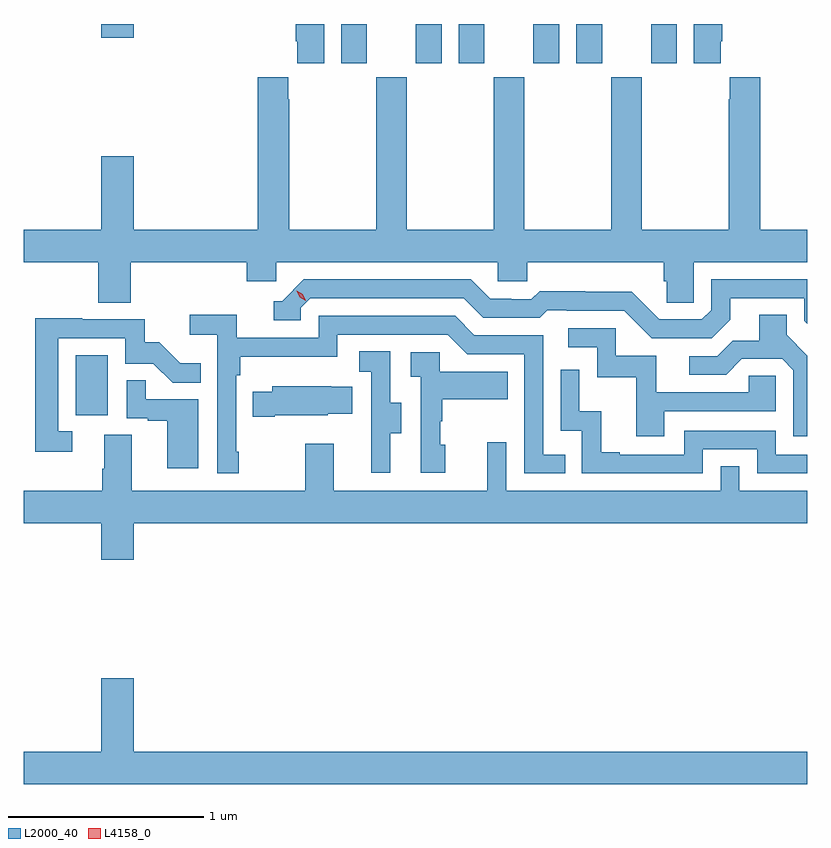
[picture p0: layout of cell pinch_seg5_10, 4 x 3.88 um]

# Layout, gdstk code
import gdstk
lib = gdstk.Library(unit=1e-6, precision=1e-09)
def R(c, l, rs):  # rectangles x0, y0, x1, y1
    for r in rs: c.add(gdstk.rectangle(r[:2], r[2:], *l))
def P(c, l, *ps):  # polygons
    for p in ps: c.add(gdstk.Polygon(p, *l))
L2000_40 = (2000, 40)
L4158_0 = (4158, 0)

pinch_seg5_10 = lib.new_cell('pinch_seg5_10')
R(pinch_seg5_10, L2000_40, [(1141.898,902.598,1142.062,902.905), (1143.254,904.395,1143.385,904.595), (1143.635,904.395,1143.766,904.595), (1143.854,904.395,1143.985,904.595), (1144.235,904.395,1144.366,904.595), (1144.454,904.395,1144.585,904.595), (1144.835,904.395,1144.966,904.595), (1142.03,904.524,1142.194,904.595)])
P(pinch_seg5_10, L2000_40, [(1143.166,904.595),(1143.023,904.595),(1143.023,904.507),(1143.029,904.507),(1143.029,904.395),(1143.166,904.395)],
  [(1145.191,904.507),(1145.198,904.507),(1145.198,904.595),(1145.054,904.595),(1145.054,904.395),(1145.191,904.395)],
  [(1142.18,903.38),(1142.771,903.38),(1142.771,903.282),(1142.922,903.282),(1142.922,903.38),(1144.053,903.38),(1144.053,903.282),(1144.203,903.282),(1144.203,903.38),(1144.901,903.38),(1144.901,903.282),(1144.915,903.282),(1144.915,903.172),(1145.052,903.172),(1145.052,903.38),(1145.633,903.38),(1145.633,903.544),(1145.393,903.544),(1145.393,904.324),(1145.237,904.324),(1145.237,904.211),(1145.233,904.211),(1145.233,903.544),(1144.788,903.544),(1144.788,904.324),(1144.633,904.324),(1144.633,903.544),(1144.188,903.544),(1144.188,904.324),(1144.033,904.324),(1144.033,903.544),(1143.588,903.544),(1143.588,904.324),(1143.433,904.324),(1143.433,903.544),(1142.988,903.544),(1142.988,904.211),(1142.983,904.211),(1142.983,904.324),(1142.828,904.324),(1142.828,903.544),(1142.194,903.544),(1142.194,903.919),(1142.03,903.919),(1142.03,903.544),(1141.633,903.544),(1141.633,903.38),(1142.015,903.38),(1142.015,903.172),(1142.18,903.172)],
  [(1145.239,903.085),(1145.239,903.195),(1145.616,903.195),(1145.616,903.081),(1145.633,903.064),(1145.633,903.291),(1145.142,903.291),(1145.142,903.135),(1145.094,903.087),(1144.878,903.087),(1144.736,903.229),(1144.5,903.229),(1144.5,903.232),(1144.267,903.232),(1144.225,903.189),(1144.122,903.189),(1144.122,903.192),(1144.015,903.192),(1143.916,903.291),(1143.063,903.291),(1142.952,903.18),(1142.909,903.18),(1142.909,903.084),(1143.048,903.084),(1143.048,903.147),(1143.096,903.195),(1143.879,903.195),(1143.978,903.096),(1144.267,903.096),(1144.306,903.135),(1144.405,903.135),(1144.405,903.132),(1144.698,903.132),(1144.839,902.991),(1145.145,902.991)],
  [(1142.731,902.413),(1142.718,902.413),(1142.718,902.801),(1142.738,902.801),(1142.738,902.897),(1143.234,902.897),(1143.234,903.009),(1143.798,903.009),(1143.897,902.91),(1144.188,902.91),(1144.188,902.301),(1144.397,902.301),(1144.397,902.397),(1144.284,902.397),(1144.284,903.006),(1143.934,903.006),(1143.835,903.105),(1143.138,903.105),(1143.138,902.994),(1142.72,902.994),(1142.72,903.11),(1142.481,903.11),(1142.481,903.008),(1142.622,903.008),(1142.622,902.301),(1142.731,902.301)],
  [(1145.633,902.902),(1145.527,903.008),(1145.527,903.11),(1145.387,903.11),(1145.387,902.978),(1145.252,902.978),(1145.172,902.898),(1145.031,902.898),(1145.031,902.805),(1145.218,902.805),(1145.299,902.886),(1145.505,902.886),(1145.562,902.829),(1145.562,902.49),(1145.633,902.49)],
  [(1141.882,902.517),(1141.809,902.517),(1141.809,902.991),(1142.151,902.991),(1142.151,902.862),(1142.295,902.862),(1142.393,902.764),(1142.537,902.764),(1142.537,902.863),(1142.433,902.863),(1142.326,902.97),(1142.25,902.97),(1142.25,903.087),(1141.931,903.087),(1141.931,903.092),(1141.693,903.092),(1141.693,902.412),(1141.882,902.412)],
  [(1144.903,902.619),(1145.472,902.619),(1145.472,902.799),(1145.335,902.799),(1145.335,902.715),(1144.861,902.715),(1144.861,902.901),(1144.656,902.901),(1144.656,903.042),(1144.413,903.042),(1144.413,902.946),(1144.56,902.946),(1144.56,902.793),(1144.759,902.793),(1144.759,902.49),(1144.903,902.49)],
  [(1143.505,902.506),(1143.559,902.506),(1143.559,902.661),(1143.504,902.661),(1143.504,902.924),(1143.345,902.924),(1143.345,902.821),(1143.408,902.821),(1143.408,902.517),(1143.407,902.517),(1143.407,902.304),(1143.505,902.304)],
  [(1143.784,902.448),(1143.759,902.448),(1143.759,902.567),(1143.769,902.567),(1143.769,902.681),(1144.103,902.681),(1144.103,902.821),(1143.756,902.821),(1143.756,902.919),(1143.609,902.919),(1143.609,902.795),(1143.66,902.795),(1143.66,902.304),(1143.784,902.304)],
  [(1145.1,902.424),(1145.376,902.424),(1145.376,902.301),(1145.633,902.301),(1145.633,902.397),(1145.472,902.397),(1145.472,902.52),(1145.004,902.52),(1145.004,902.397),(1144.675,902.397),(1144.675,902.41),(1144.58,902.41),(1144.58,902.618),(1144.47,902.618),(1144.47,902.83),(1144.374,902.83),(1144.374,902.52),(1144.482,902.52),(1144.482,902.301),(1145.1,902.301)],
  [(1142.524,902.679),(1142.255,902.679),(1142.255,902.777),(1142.16,902.777),(1142.16,902.583),(1142.267,902.583),(1142.267,902.571),(1142.366,902.571),(1142.366,902.328),(1142.524,902.328)],
  [(1142.914,902.597),(1143.186,902.597),(1143.186,902.606),(1143.311,902.606),(1143.311,902.743),(1143.203,902.743),(1143.203,902.746),(1142.901,902.746),(1142.901,902.719),(1142.803,902.719),(1142.803,902.59),(1142.914,902.59)],
  [(1142.194,902.048),(1145.633,902.048),(1145.633,902.212),(1145.286,902.212),(1145.286,902.339),(1145.19,902.339),(1145.19,902.212),(1144.095,902.212),(1144.095,902.461),(1143.998,902.461),(1143.998,902.212),(1143.217,902.212),(1143.217,902.452),(1143.07,902.452),(1143.07,902.212),(1142.185,902.212),(1142.185,902.498),(1142.045,902.498),(1142.045,902.324),(1142.033,902.324),(1142.033,902.212),(1141.633,902.212),(1141.633,902.048),(1142.03,902.048),(1142.03,901.86),(1142.194,901.86)],
  [(1145.633,900.88),(1142.194,900.88),(1142.194,901.255),(1142.03,901.255),(1142.03,900.88),(1141.633,900.88),(1141.633,900.716),(1145.633,900.716)])
P(pinch_seg5_10, L4158_0, [(1143.073,903.182),(1143.042,903.201),(1143.026,903.234),(1143.026,903.234),(1143.026,903.234),(1143.057,903.215),(1143.073,903.183),(1143.073,903.182)])

lib.write_gds('pinch_seg5_10.gds')
